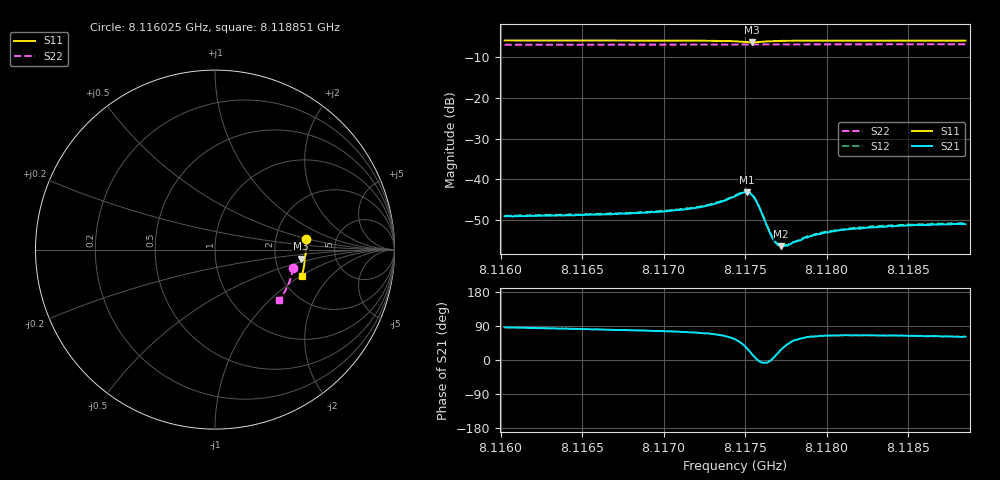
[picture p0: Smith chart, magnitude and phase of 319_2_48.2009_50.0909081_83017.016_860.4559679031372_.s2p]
#  HZ  S  RI  R  50.00
! Rohde & Schwarz Vector Network Analyzer
! Rohde-Schwarz,ZNB20-2Port,1311601062101988,3.16
! Created: UTC 3/20/2024, 11:50:19 AM
! freq[Hz]  re:S11  im:S11  re:S21  im:S21  re:S12  im:S12  re:S22  im:S22
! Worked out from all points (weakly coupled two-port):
!   401 points, 8.116025 GHz to 8.118851 GHz, reference 50 ohm
!   highest |S21| = -43.22 dB at 8.117509 GHz (marker M1); lowest = -56.5 dB at 8.117721 GHz (marker M2)
!   lowest |S11| = -6.4 dB at 8.117544 GHz (marker M3), VSWR 2.85, Z = 140 - j18.6 ohm
!   |S11| at or under -10 dB: nowhere
!   |S22| runs from -7.0 to -6.8 dB; largest |S21 - S12| = 0.00018
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8.116025e9  0.5043 0.0563  0.000225 0.00349  0.000302 0.00349  0.4365 -0.1031
8.1164984e9  0.5063 0.0207  0.00055 0.00358  0.000585 0.00366  0.4292 -0.1351
8.1169718e9  0.5054 -0.0159  0.000909 0.00385  0.000988 0.00393  0.4193 -0.1664
8.117099e9  0.5046 -0.026  0.00112 0.00405  0.0012 0.00407  0.4163 -0.1749
8.1172545e9  0.5024 -0.0396  0.00158 0.00439  0.00161 0.00445  0.4121 -0.1851
8.1173534e9  0.4993 -0.049  0.0022 0.00478  0.00226 0.00485  0.4095 -0.1915
8.1174382e9  0.4926 -0.0574  0.0036 0.00503  0.00373 0.00509  0.4069 -0.1969
8.1174806e9  0.4863 -0.0596  0.00492 0.00462  0.00502 0.00469  0.4054 -0.1994
8.1175089e9  0.481 -0.0578  0.00583 0.00369  0.00599 0.00365  0.4044 -0.2011
8.1175301e9  0.4784 -0.0544  0.0062 0.00247  0.00635 0.00247  0.4038 -0.2022
8.1175442e9  0.478 -0.0512  0.00614 0.00159  0.00625 0.00159  0.4034 -0.2029
8.1175583e9  0.479 -0.0482  0.00576 0.000769  0.00589 0.000698  0.4032 -0.2036
8.1175795e9  0.4825 -0.0452  0.00487 -7.63e-05  0.00493 -0.00013  0.4028 -0.2049
8.1176431e9  0.4932 -0.0477  0.0024 -0.000204  0.00245 -0.000265  0.4014 -0.209
8.1176714e9  0.4957 -0.0508  0.00182 0.000149  0.00186 9.16e-05  0.4005 -0.2106
8.1176926e9  0.497 -0.0533  0.00157 0.000412  0.0016 0.000402  0.4 -0.2122
8.1177209e9  0.498 -0.0567  0.00134 0.000679  0.00141 0.000691  0.3992 -0.214
8.1177632e9  0.4986 -0.0612  0.00113 0.00103  0.00116 0.00104  0.3979 -0.2167
8.1179116e9  0.4988 -0.0753  0.000971 0.00175  0.000994 0.00177  0.3933 -0.2261
8.1180742e9  0.4969 -0.0889  0.000997 0.00212  0.00103 0.00217  0.3878 -0.2363
8.1183851e9  0.4922 -0.1125  0.00114 0.0024  0.00118 0.00242  0.3768 -0.2552
8.1188514e9  0.4827 -0.1466  0.00134 0.00244  0.00138 0.00255  0.3586 -0.2825
